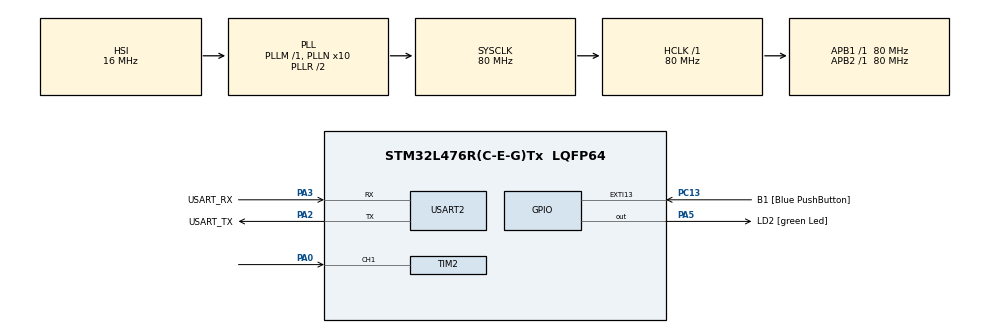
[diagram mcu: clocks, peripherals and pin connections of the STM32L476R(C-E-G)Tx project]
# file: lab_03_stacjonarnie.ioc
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Mcu.Family=STM32L4
Mcu.Name=STM32L476R(C-E-G)Tx
Mcu.Package=LQFP64
Mcu.UserConstants=TIM5_PRESCALER,79;TIM5_PERIOD,49999
NVIC.PriorityGroup=NVIC_PRIORITYGROUP_4
NVIC.TIM2_IRQn=true\:0\:0\:false\:false\:true\:true\:true\:true
PA0.GPIO_PuPd=GPIO_PULLUP
PA0.Signal=S_TIM2_CH1
PA13\ (JTMS-SWDIO).GPIO_Label=TMS
PA13\ (JTMS-SWDIO).Mode=Serial_Wire
PA13\ (JTMS-SWDIO).Signal=SYS_JTMS-SWDIO
PA14\ (JTCK-SWCLK).GPIO_Label=TCK
PA14\ (JTCK-SWCLK).Mode=Serial_Wire
PA14\ (JTCK-SWCLK).Signal=SYS_JTCK-SWCLK
PA2.GPIO_Label=USART_TX
PA2.GPIO_Mode=GPIO_MODE_AF_PP
PA2.GPIO_PuPd=GPIO_NOPULL
PA2.GPIO_Speed=GPIO_SPEED_FREQ_VERY_HIGH
PA2.Mode=Asynchronous
PA2.Signal=USART2_TX
PA3.GPIO_Label=USART_RX
PA3.GPIO_Mode=GPIO_MODE_AF_PP
PA3.GPIO_PuPd=GPIO_NOPULL
PA3.GPIO_Speed=GPIO_SPEED_FREQ_VERY_HIGH
PA3.Mode=Asynchronous
PA3.Signal=USART2_RX
PA5.GPIO_Label=LD2 [green Led]
PA5.GPIO_ModeDefaultOutputPP=GPIO_MODE_OUTPUT_PP
PA5.GPIO_PuPd=GPIO_NOPULL
PA5.GPIO_Speed=GPIO_SPEED_FREQ_LOW
PA5.Signal=GPIO_Output
PB3\ (JTDO-TRACESWO).GPIO_Label=SWO
PB3\ (JTDO-TRACESWO).Signal=SYS_JTDO-SWO
PC13.GPIO_Label=B1 [Blue PushButton]
PC13.GPIO_ModeDefaultEXTI=GPIO_MODE_IT_FALLING
PC13.GPIO_PuPd=GPIO_NOPULL
PC13.Signal=GPXTI13
PC14-OSC32_IN\ (PC14).Mode=LSE-External-Oscillator
PC14-OSC32_IN\ (PC14).Signal=RCC_OSC32_IN
PC15-OSC32_OUT\ (PC15).Mode=LSE-External-Oscillator
PC15-OSC32_OUT\ (PC15).Signal=RCC_OSC32_OUT
PH0-OSC_IN\ (PH0).Signal=RCC_OSC_IN
PH1-OSC_OUT\ (PH1).Signal=RCC_OSC_OUT
ProjectManager.HeapSize=0x200
ProjectManager.StackSize=0x400
ProjectManager.TargetToolchain=CMake
RCC.ADCFreq_Value=64000000
RCC.AHBFreq_Value=80000000
RCC.APB1Freq_Value=80000000
RCC.APB1TimFreq_Value=80000000
RCC.APB2Freq_Value=80000000
RCC.APB2TimFreq_Value=80000000
RCC.CortexFreq_Value=80000000
RCC.HCLKFreq_Value=80000000
RCC.HSE_VALUE=8000000
RCC.HSI_VALUE=16000000
RCC.MSI_VALUE=4000000
RCC.PLLN=10
RCC.PLLSourceVirtual=RCC_PLLSOURCE_HSI
RCC.PREFETCH_ENABLE=1
RCC.SYSCLKFreq_VALUE=80000000
RCC.SYSCLKSource=RCC_SYSCLKSOURCE_PLLCLK
RCC.USBFreq_Value=64000000
RCC.VCOOutputFreq_Value=160000000
SH.S_TIM2_CH1.0=TIM2_CH1,Input_Capture1_from_TI1
TIM2.Channel-Input_Capture1_from_TI1=TIM_CHANNEL_1
TIM2.ICPolarity_CH1=TIM_INPUTCHANNELPOLARITY_FALLING
TIM2.Period=TIM5_PERIOD
TIM2.Prescaler=TIM5_PRESCALER
USART2.VirtualMode-Asynchronous=VM_ASYNC
VP_TIM5_VS_ClockSourceINT.Mode=Internal
board=NUCLEO-L476RG

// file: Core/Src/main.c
/* USER CODE BEGIN Header */
/**
 ******************************************************************************
 * @file           : main.c
 * @brief          : Main program body
 ******************************************************************************
 * @attention
 *
 * Copyright (c) 2025 STMicroelectronics.
 * All rights reserved.
 *
 * This software is licensed under terms that can be found in the LICENSE file
 * in the root directory of this software component.
 * If no LICENSE file comes with this software, it is provided AS-IS.
 *
 ******************************************************************************
 */
/* USER CODE END Header */
#include "main.h"
#include "tim.h"
#include "usart.h"
#include "gpio.h"

/* USER CODE BEGIN Includes */
#include "stdio.h"
/* USER CODE END Includes */

/* USER CODE BEGIN PV */
volatile int flag;
volatile int period;
/* USER CODE END PV */

void SystemClock_Config(void);

/* USER CODE BEGIN 0 */

//  Funkcja do przekierowania printf() na UART
int _write(int file, char *ptr, int len)
{
  HAL_UART_Transmit(&huart2, (uint8_t *)ptr, len, 50);
  return len;
}

//  Callback do Input Capture (wykrywający zbocze)
void HAL_TIM_IC_CaptureCallback(TIM_HandleTypeDef *htim)
{
  if (htim == &htim2)
  {
    if (htim->Channel == HAL_TIM_ACTIVE_CHANNEL_1)
    {
      period = __HAL_TIM_GET_COMPARE(&htim2, TIM_CHANNEL_1); // zapamiętaj wartość
      __HAL_TIM_SET_COUNTER(&htim2, 0);                      // wyzeruj licznik
      flag = 1;                                              // ustaw flagę
    }
  }
}

/* USER CODE END 0 */

int main(void)
{

  /* MCU Configuration--------------------------------------------------------*/

  /* Reset of all peripherals, Initializes the Flash interface and the Systick. */
  HAL_Init();

  /* Configure the system clock */
  SystemClock_Config();

  /* Initialize all configured peripherals */
  MX_GPIO_Init();
  MX_TIM5_Init();
  MX_USART2_UART_Init();
  MX_TIM2_Init();
  /* USER CODE BEGIN 2 */

  flag = 0;
  HAL_TIM_IC_Start_IT(&htim2, TIM_CHANNEL_1);

  /* USER CODE END 2 */

  /* Infinite loop */
  /* USER CODE BEGIN WHILE */
  while (1)
  {
    if (flag == 1)
    {
      HAL_GPIO_TogglePin(LD2_GPIO_Port, LD2_Pin);

      float time_sec = (float)period / 49999.0f;
      int sec = (int)time_sec;
      int millisec = (int)((time_sec - sec) * 1000);

      printf("Wykryto zbocze po %d.%03d sekundach\r\n", sec, millisec);
      flag = 0;
    }

    HAL_Delay(10);

    /* USER CODE END WHILE */

  }
}

void SystemClock_Config(void)
{
  RCC_OscInitTypeDef RCC_OscInitStruct = {0};
  RCC_ClkInitTypeDef RCC_ClkInitStruct = {0};

  /** Configure the main internal regulator output voltage
   */
  if (HAL_PWREx_ControlVoltageScaling(PWR_REGULATOR_VOLTAGE_SCALE1) != HAL_OK)
  {
    Error_Handler();
  }

  /** Initializes the RCC Oscillators according to the specified parameters
   * in the RCC_OscInitTypeDef structure.
   */
  RCC_OscInitStruct.OscillatorType = RCC_OSCILLATORTYPE_HSI;
  RCC_OscInitStruct.HSIState = RCC_HSI_ON;
  RCC_OscInitStruct.HSICalibrationValue = RCC_HSICALIBRATION_DEFAULT;
  RCC_OscInitStruct.PLL.PLLState = RCC_PLL_ON;
  RCC_OscInitStruct.PLL.PLLSource = RCC_PLLSOURCE_HSI;
  RCC_OscInitStruct.PLL.PLLM = 1;
  RCC_OscInitStruct.PLL.PLLN = 10;
  RCC_OscInitStruct.PLL.PLLP = RCC_PLLP_DIV7;
  RCC_OscInitStruct.PLL.PLLQ = RCC_PLLQ_DIV2;
  RCC_OscInitStruct.PLL.PLLR = RCC_PLLR_DIV2;
  if (HAL_RCC_OscConfig(&RCC_OscInitStruct) != HAL_OK)
  {
    Error_Handler();
  }

  /** Initializes the CPU, AHB and APB buses clocks
   */
  RCC_ClkInitStruct.ClockType = RCC_CLOCKTYPE_HCLK | RCC_CLOCKTYPE_SYSCLK | RCC_CLOCKTYPE_PCLK1 | RCC_CLOCKTYPE_PCLK2;
  RCC_ClkInitStruct.SYSCLKSource = RCC_SYSCLKSOURCE_PLLCLK;
  RCC_ClkInitStruct.AHBCLKDivider = RCC_SYSCLK_DIV1;
  RCC_ClkInitStruct.APB1CLKDivider = RCC_HCLK_DIV1;
  RCC_ClkInitStruct.APB2CLKDivider = RCC_HCLK_DIV1;

  if (HAL_RCC_ClockConfig(&RCC_ClkInitStruct, FLASH_LATENCY_4) != HAL_OK)
  {
    Error_Handler();
  }
}

void Error_Handler(void)
{
  __disable_irq();
  while (1)
  {
  }
}
